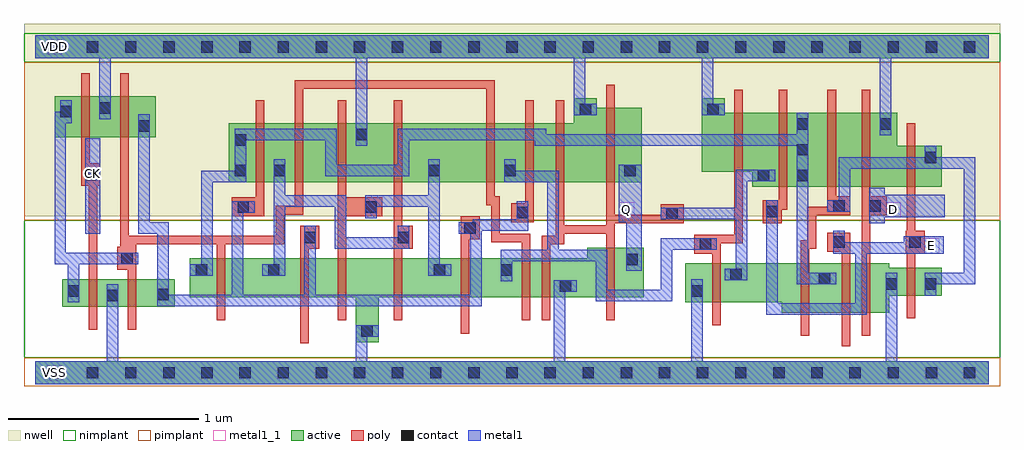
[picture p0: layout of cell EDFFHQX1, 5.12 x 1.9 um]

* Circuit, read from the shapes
.subckt EDFFHQX1 CK D E Q VDD VSS
M1 VSS CK n1 VSS nfet w=0.145u l=0.045u
M2 n2 n1 VSS VSS nfet w=0.145u l=0.045u
M3 n3 n1 n4 VSS nfet w=0.205u l=0.045u
M4 n5 n2 n3 VSS nfet w=0.205u l=0.045u
M5 VSS n6 n5 VSS nfet w=0.205u l=0.045u
M6 n6 n3 VSS VSS nfet w=0.205u l=0.045u
M7 n7 n2 n6 VSS nfet w=0.205u l=0.045u
M8 n8 n1 n7 VSS nfet w=0.205u l=0.045u
M9 VSS n9 n8 VSS nfet w=0.205u l=0.045u
M10 Q n9 VSS VSS nfet w=0.26u l=0.045u
M11 n9 n7 VSS VSS nfet w=0.205u l=0.045u
M12 n4 n10 n9 VSS nfet w=0.26u l=0.045u
M13 n11 E n4 VSS nfet w=0.26u l=0.045u
M14 VSS D n11 VSS nfet w=0.26u l=0.045u
M15 n10 E VSS VSS nfet w=0.145u l=0.045u
M16 VDD CK n1 VDD pfet w=0.215u l=0.045u
M17 n2 n1 VDD VDD pfet w=0.215u l=0.045u
M18 n3 n2 n4 VDD pfet w=0.31u l=0.045u
M19 n12 n1 n3 VDD pfet w=0.31u l=0.045u
M20 VDD n6 n12 VDD pfet w=0.31u l=0.045u
M21 n6 n3 VDD VDD pfet w=0.31u l=0.045u
M22 n7 n1 n6 VDD pfet w=0.31u l=0.045u
M23 n13 n2 n7 VDD pfet w=0.31u l=0.045u
M24 VDD n9 n13 VDD pfet w=0.31u l=0.045u
M25 Q n9 VDD VDD pfet w=0.39u l=0.045u
M26 n9 n7 VDD VDD pfet w=0.31u l=0.045u
M27 n4 E n9 VDD pfet w=0.39u l=0.045u
M28 n14 n10 n4 VDD pfet w=0.39u l=0.045u
M29 VDD D n14 VDD pfet w=0.39u l=0.045u
M30 n10 E VDD VDD pfet w=0.215u l=0.045u
.ends

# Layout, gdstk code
import gdstk
lib = gdstk.Library(unit=1e-6, precision=5e-10)
def R(c, l, rs):  # rectangles x0, y0, x1, y1
    for r in rs: c.add(gdstk.rectangle(r[:2], r[2:], *l))
def A(c, l, x, y, w, h, nx, ny, dx, dy):  # array of equal rectangles
    R(c, l, [(x+i*dx, y+j*dy, x+i*dx+w, y+j*dy+h) for i in range(nx) for j in range(ny)])
def P(c, l, *ps):  # polygons
    for p in ps: c.add(gdstk.Polygon(p, *l))
active = (1, 0)
nwell = (2, 0)
poly = (3, 0)
nimplant = (4, 0)
pimplant = (5, 0)
contact = (6, 0)
metal1 = (7, 0)
metal1_1 = (7, 1)

edffhqx1 = lib.new_cell('EDFFHQX1')
R(edffhqx1, active, [(0,-0.06,5,0.06), (0.14,0.345,0.73,0.49), (0.1,1.235,0.63,1.45), (0,1.65,5,1.77)])
P(edffhqx1, active, [(2.825,1.44),(2.945,1.44),(2.945,1.39),(3.18,1.39),(3.18,1),(1.015,1),(1.015,1.31),(2.825,1.31)],
  [(3.495,1.44),(3.615,1.44),(3.615,1.365),(4.52,1.365),(4.52,1.19),(4.755,1.19),(4.755,0.975),(3.76,0.975),(3.76,1.055),(3.495,1.055)],
  [(2.895,0.655),(3.19,0.655),(3.19,0.395),(1.8,0.395),(1.8,0.16),(1.68,0.16),(1.68,0.395),(0.81,0.395),(0.81,0.6),(2.895,0.6)],
  [(3.41,0.575),(4.48,0.575),(4.48,0.55),(4.755,0.55),(4.755,0.405),(4.48,0.405),(4.48,0.315),(3.915,0.315),(3.915,0.37),(3.41,0.37)])
R(edffhqx1, nwell, [(-0.06,0.82,5.06,1.83)])
P(edffhqx1, poly, [(0.445,1.57),(0.49,1.57),(0.49,0.72),(1.26,0.72),(1.26,0.875),(1.36,0.875),(1.36,1.535),(2.41,1.535),(2.41,0.925),(2.435,0.925),(2.435,0.73),(2.595,0.73),(2.595,0.275),(2.55,0.275),(2.55,0.685),(2.39,0.685),(2.39,0.88),(2.365,0.88),(2.365,1.49),(1.405,1.49),(1.405,0.83),(1.305,0.83),(1.305,0.675),(0.995,0.675),(0.995,0.275),(0.95,0.275),(0.95,0.675),(0.53,0.675),(0.53,0.225),(0.485,0.225),(0.485,0.54),(0.43,0.54),(0.43,0.66),(0.445,0.66)],
  [(0.24,1.57),(0.285,1.57),(0.285,1.1),(0.34,1.1),(0.34,0.98),(0.325,0.98),(0.325,0.225),(0.28,0.225),(0.28,0.98),(0.24,0.98)],
  [(1.155,1.43),(1.2,1.43),(1.2,0.82),(1.03,0.82),(1.03,0.92),(1.155,0.92)],
  [(1.585,1.43),(1.63,1.43),(1.63,0.92),(1.82,0.92),(1.82,0.82),(1.63,0.82),(1.63,0.275),(1.585,0.275)],
  [(1.88,1.43),(1.925,1.43),(1.925,0.77),(1.98,0.77),(1.98,0.65),(1.925,0.65),(1.925,0.275),(1.88,0.275)],
  [(2.57,1.43),(2.615,1.43),(2.615,0.79),(2.495,0.79),(2.495,0.89),(2.57,0.89)],
  [(2.73,1.43),(2.775,1.43),(2.775,0.775),(2.995,0.775),(2.995,1.51),(3.04,1.51),(3.04,0.83),(3.28,0.83),(3.28,0.885),(3.4,0.885),(3.4,0.785),(3.04,0.785),(3.04,0.275),(2.995,0.275),(2.995,0.73),(2.775,0.73),(2.775,0.675),(2.7,0.675),(2.7,0.275),(2.655,0.275),(2.655,0.72),(2.73,0.72)],
  [(3.665,1.485),(3.71,1.485),(3.71,0.68),(3.595,0.68),(3.595,0.25),(3.55,0.25),(3.55,0.625),(3.455,0.625),(3.455,0.725),(3.665,0.725)],
  [(3.9,1.485),(3.945,1.485),(3.945,0.855),(3.915,0.855),(3.915,0.785),(3.815,0.785),(3.815,0.905),(3.9,0.905)],
  [(4.155,1.485),(4.2,1.485),(4.2,0.925),(4.275,0.925),(4.275,0.825),(4.095,0.825),(4.095,0.65),(4.06,0.65),(4.06,0.195),(4.015,0.195),(4.015,0.695),(4.05,0.695),(4.05,0.87),(4.155,0.87)],
  [(4.335,1.485),(4.38,1.485),(4.38,0.925),(4.465,0.925),(4.465,0.825),(4.38,0.825),(4.38,0.195),(4.335,0.195)],
  [(4.57,1.31),(4.615,1.31),(4.615,0.745),(4.665,0.745),(4.665,0.625),(4.615,0.625),(4.615,0.285),(4.57,0.285),(4.57,0.625),(4.565,0.625),(4.565,0.745),(4.57,0.745)],
  [(1.39,0.77),(1.49,0.77),(1.49,0.65),(1.435,0.65),(1.435,0.155),(1.39,0.155)],
  [(2.23,0.82),(2.33,0.82),(2.33,0.7),(2.275,0.7),(2.275,0.205),(2.23,0.205)],
  [(4.155,0.735),(4.275,0.735),(4.275,0.14),(4.23,0.14),(4.23,0.635),(4.155,0.635)])
R(edffhqx1, nimplant, [(-0.06,0.08,5.06,0.8), (-0.06,1.63,5.06,1.78)])
R(edffhqx1, pimplant, [(-0.06,-0.07,5.06,0.08), (-0.06,0.8,5.06,1.63)])
A(edffhqx1, contact, 0.07, -0.03, 0.06, 0.06, 25, 2, 0.2, 1.71)
A(edffhqx1, contact, 3.995, 1.005, 0.06, 0.06, 1, 3, 0, 0.135)
R(edffhqx1, contact, [(1.71,0.19,1.77,0.25), (0.375,0.375,0.435,0.435), (0.64,0.38,0.7,0.44), (0.17,0.4,0.23,0.46), (3.44,0.4,3.5,0.46), (2.75,0.425,2.81,0.485), (4.46,0.435,4.52,0.495), (4.665,0.435,4.725,0.495), (4.11,0.465,4.17,0.525), (3.645,0.485,3.705,0.545), (0.84,0.51,0.9,0.57), (1.22,0.51,1.28,0.57), (2.09,0.51,2.15,0.57), (2.44,0.51,2.5,0.57), (3.1,0.565,3.16,0.625), (0.45,0.57,0.51,0.63), (3.485,0.645,3.545,0.705), (4.185,0.655,4.245,0.715), (4.585,0.655,4.645,0.715), (1.41,0.68,1.47,0.74), (1.9,0.68,1.96,0.74), (2.25,0.73,2.31,0.79), (3.31,0.805,3.37,0.865), (2.525,0.81,2.585,0.87), (3.835,0.815,3.895,0.875), (1.06,0.84,1.12,0.9), (1.73,0.84,1.79,0.9), (4.185,0.845,4.245,0.905), (4.375,0.845,4.435,0.905), (3.79,1.005,3.85,1.065), (0.26,1.01,0.32,1.07), (1.045,1.03,1.105,1.09), (1.25,1.03,1.31,1.09), (2.06,1.03,2.12,1.09), (2.46,1.03,2.52,1.09), (3.09,1.03,3.15,1.09), (4.665,1.1,4.725,1.16), (1.045,1.19,1.105,1.25), (1.68,1.22,1.74,1.28), (0.54,1.265,0.6,1.325), (4.43,1.275,4.49,1.335), (0.13,1.34,0.19,1.4), (2.855,1.35,2.915,1.41), (3.525,1.35,3.585,1.41), (0.335,1.36,0.395,1.42)])
R(edffhqx1, metal1, [(0.26,0.73,0.34,1.23)])
P(edffhqx1, metal1, [(0,1.77),(5,1.77),(5,1.65),(4.49,1.65),(4.49,1.245),(4.43,1.245),(4.43,1.65),(3.555,1.65),(3.555,1.41),(3.615,1.41),(3.615,1.35),(3.495,1.35),(3.495,1.65),(2.885,1.65),(2.885,1.41),(2.945,1.41),(2.945,1.35),(2.825,1.35),(2.825,1.65),(1.74,1.65),(1.74,1.19),(1.68,1.19),(1.68,1.65),(0.395,1.65),(0.395,1.33),(0.335,1.33),(0.335,1.65),(0,1.65)],
  [(0.13,1.43),(0.19,1.43),(0.19,1.31),(0.16,1.31),(0.16,0.63),(0.54,0.63),(0.54,0.57),(0.23,0.57),(0.23,0.37),(0.17,0.37),(0.17,0.57),(0.1,0.57),(0.1,1.37),(0.13,1.37)],
  [(1.045,1.28),(1.58,1.28),(1.58,1.09),(1.9,1.09),(1.9,1.28),(2.68,1.28),(2.68,1.25),(3.995,1.25),(3.995,1.365),(4.055,1.365),(4.055,0.525),(4.2,0.525),(4.2,0.465),(3.995,0.465),(3.995,1.19),(2.62,1.19),(2.62,1.22),(1.96,1.22),(1.96,1.03),(1.52,1.03),(1.52,1.22),(1.105,1.22),(1.105,1),(0.93,1),(0.93,0.51),(0.81,0.51),(0.81,0.57),(0.87,0.57),(0.87,1.06),(1.045,1.06)],
  [(0.54,1.355),(0.6,1.355),(0.6,0.79),(0.7,0.79),(0.7,0.41),(1.03,0.41),(1.03,0.9),(1.15,0.9),(1.15,0.84),(1.09,0.84),(1.09,0.41),(1.41,0.41),(1.41,0.77),(1.47,0.77),(1.47,0.41),(2.28,0.41),(2.28,0.73),(2.22,0.73),(2.22,0.79),(2.295,0.79),(2.295,0.805),(2.525,0.805),(2.525,0.9),(2.585,0.9),(2.585,0.745),(2.34,0.745),(2.34,0.35),(0.64,0.35),(0.64,0.73),(0.54,0.73)],
  [(1.25,1.12),(1.31,1.12),(1.31,0.93),(1.63,0.93),(1.63,0.71),(1.9,0.71),(1.9,0.77),(1.96,0.77),(1.96,0.65),(1.57,0.65),(1.57,0.87),(1.31,0.87),(1.31,0.51),(1.19,0.51),(1.19,0.57),(1.25,0.57)],
  [(2.06,1.12),(2.12,1.12),(2.12,0.57),(2.18,0.57),(2.18,0.51),(2.06,0.51),(2.06,0.87),(1.79,0.87),(1.79,0.81),(1.73,0.81),(1.73,0.93),(2.06,0.93)],
  [(2.46,1.12),(2.52,1.12),(2.52,1.06),(2.745,1.06),(2.745,0.645),(3,0.645),(3,0.435),(3.28,0.435),(3.28,0.705),(3.575,0.705),(3.575,0.645),(3.34,0.645),(3.34,0.375),(2.94,0.375),(2.94,0.585),(2.5,0.585),(2.5,0.48),(2.44,0.48),(2.44,0.645),(2.685,0.645),(2.685,1),(2.46,1)],
  [(0.375,0.465),(0.435,0.465),(0.435,0.06),(1.68,0.06),(1.68,0.25),(1.8,0.25),(1.8,0.19),(1.74,0.19),(1.74,0.06),(2.72,0.06),(2.72,0.485),(2.84,0.485),(2.84,0.425),(2.78,0.425),(2.78,0.06),(3.44,0.06),(3.44,0.49),(3.5,0.49),(3.5,0.06),(4.46,0.06),(4.46,0.525),(4.52,0.525),(4.52,0.06),(5,0.06),(5,-0.06),(0,-0.06),(0,0.06),(0.375,0.06)],
  [(3.06,1.09),(3.18,1.09),(3.18,0.535),(3.1,0.535),(3.1,0.79),(3.06,0.79)],
  [(3.675,1.065),(3.88,1.065),(3.88,1.005),(3.735,1.005),(3.735,0.485),(3.615,0.485),(3.615,0.545),(3.675,0.545),(3.675,0.805),(3.28,0.805),(3.28,0.865),(3.675,0.865)],
  [(4.665,1.19),(4.725,1.19),(4.725,1.13),(4.93,1.13),(4.93,0.465),(4.725,0.465),(4.725,0.405),(4.665,0.405),(4.665,0.525),(4.87,0.525),(4.87,1.07),(4.275,1.07),(4.275,0.845),(4.155,0.845),(4.155,0.905),(4.215,0.905),(4.215,1.13),(4.665,1.13)],
  [(3.835,0.905),(3.895,0.905),(3.895,0.365),(4.3,0.365),(4.3,0.625),(4.185,0.625),(4.185,0.745),(4.245,0.745),(4.245,0.685),(4.555,0.685),(4.555,0.715),(4.765,0.715),(4.765,0.625),(4.36,0.625),(4.36,0.305),(3.835,0.305)],
  [(4.375,0.97),(4.455,0.97),(4.455,0.935),(4.77,0.935),(4.77,0.815),(4.455,0.815),(4.455,0.785),(4.375,0.785)])
R(edffhqx1, metal1_1, [(0.06,-0.04,0.14,0.04), (4.66,0.625,4.74,0.705), (3.06,0.815,3.14,0.895), (4.46,0.815,4.54,0.895), (0.26,1.005,0.34,1.085), (0.06,1.67,0.14,1.75)])
edffhqx1.add(gdstk.Label('Q', (3.1,0.855), layer=7, texttype=1))
edffhqx1.add(gdstk.Label('E', (4.7,0.665), layer=7, texttype=1))
edffhqx1.add(gdstk.Label('D', (4.5,0.855), layer=7, texttype=1))
edffhqx1.add(gdstk.Label('CK', (0.3,1.045), layer=7, texttype=1))
edffhqx1.add(gdstk.Label('VDD', (0.1,1.71), layer=7, texttype=1))
edffhqx1.add(gdstk.Label('VSS', (0.1,0), layer=7, texttype=1))
edffhqx1.add(gdstk.Label('EDFFHQX1', (0,0), layer=63, texttype=0))

lib.write_gds('EDFFHQX1.gds')
